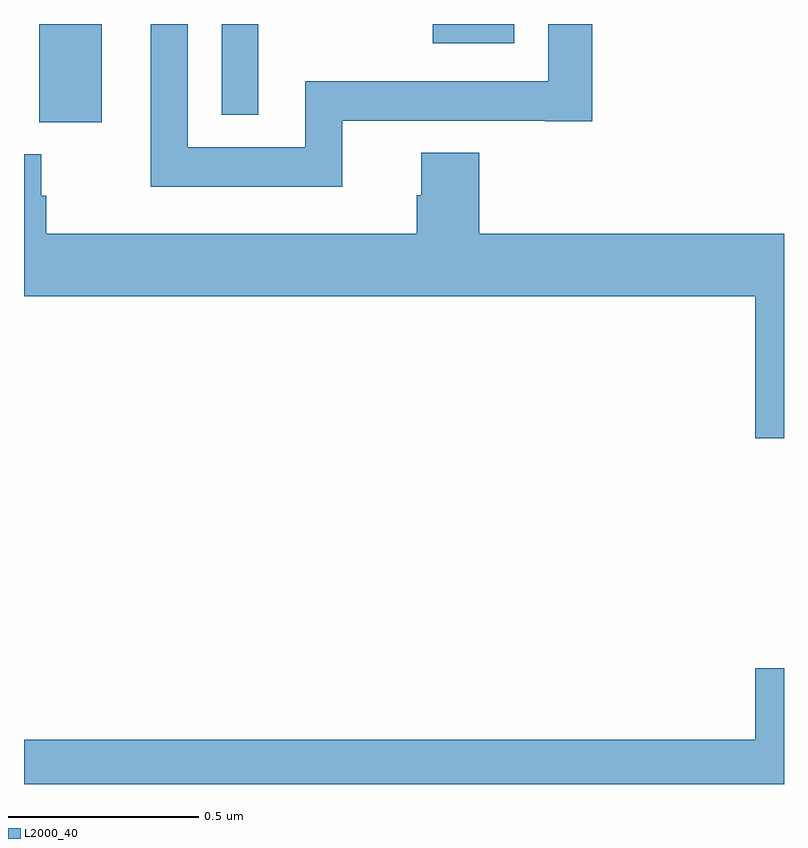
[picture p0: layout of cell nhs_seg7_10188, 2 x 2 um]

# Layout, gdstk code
import gdstk
lib = gdstk.Library(unit=1e-6, precision=1e-09)
def R(c, l, rs):  # rectangles x0, y0, x1, y1
    for r in rs: c.add(gdstk.rectangle(r[:2], r[2:], *l))
def P(c, l, *ps):  # polygons
    for p in ps: c.add(gdstk.Polygon(p, *l))
L2000_40 = (2000, 40)

nhs_seg7_10188 = lib.new_cell('nhs_seg7_10188')
R(nhs_seg7_10188, L2000_40, [(247.04,999.742,247.204,1000), (247.521,999.761,247.617,1000), (248.075,999.95,248.29,1000)])
P(nhs_seg7_10188, L2000_40, [(247.838,999.746),(248.372,999.746),(248.372,999.744),(248.495,999.744),(248.495,1000),(248.379,1000),(248.379,999.85),(247.74,999.85),(247.74,999.676),(247.431,999.676),(247.431,1000),(247.334,1000),(247.334,999.572),(247.838,999.572)],
  [(249,999.448),(248.198,999.448),(248.198,999.661),(248.045,999.661),(248.045,999.549),(248.033,999.549),(248.033,999.448),(247.058,999.448),(247.058,999.548),(247.045,999.548),(247.045,999.657),(247,999.657),(247,999.284),(248.924,999.284),(248.924,998.91),(249,998.91)],
  [(249,998.305),(248.924,998.305),(248.924,998.116),(247,998.116),(247,998),(249,998)])

lib.write_gds('nhs_seg7_10188.gds')
